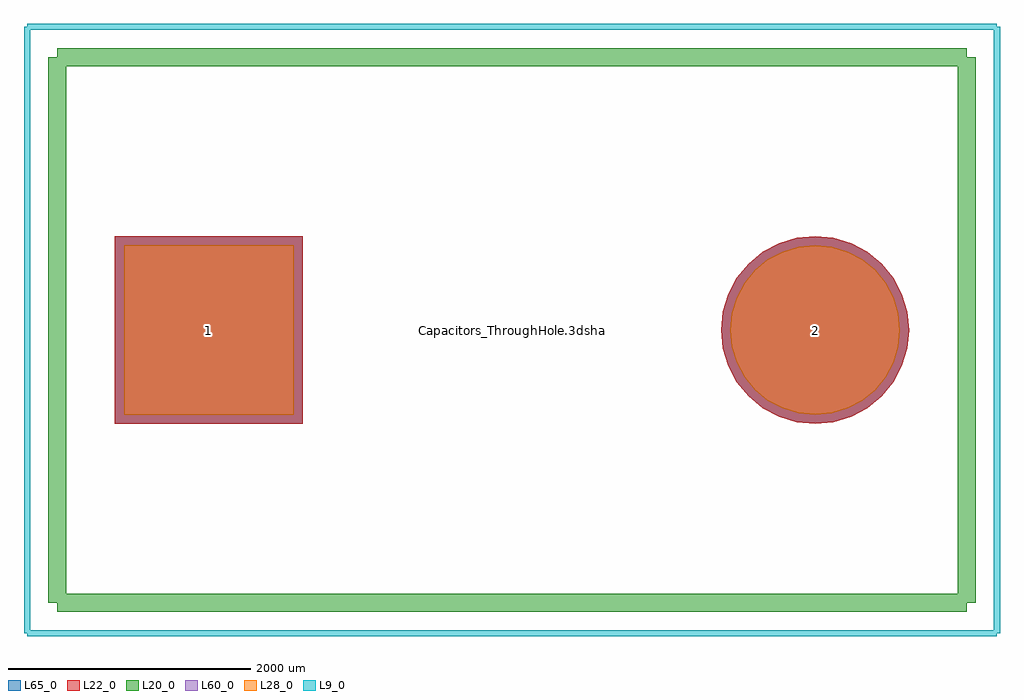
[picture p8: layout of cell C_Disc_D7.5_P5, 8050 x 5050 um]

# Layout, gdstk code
import gdstk
lib = gdstk.Library(unit=1e-6, precision=1e-09)
def R(c, l, rs):  # rectangles x0, y0, x1, y1
    for r in rs: c.add(gdstk.rectangle(r[:2], r[2:], *l))
def P(c, l, *ps):  # polygons
    for p in ps: c.add(gdstk.Polygon(p, *l))
L9_0 = (9, 0)
L20_0 = (20, 0)
L22_0 = (22, 0)
L28_0 = (28, 0)
L60_0 = (60, 0)
L65_0 = (65, 0)

c_disc_d7_5_p5 = lib.new_cell('C_Disc_D7.5_P5')
R(c_disc_d7_5_p5, L22_0, [(-775,-775,775,775)])
P(c_disc_d7_5_p5, L22_0, [(5775,0),(5760.109,151.195),(5716.007,296.58),(5644.389,430.567),(5548.008,548.008),(5430.567,644.389),(5296.58,716.007),(5151.195,760.109),(5000,775),(4848.805,760.109),(4703.42,716.007),(4569.433,644.389),(4451.992,548.008),(4355.611,430.567),(4283.993,296.58),(4239.891,151.195),(4225,0),(4239.891,-151.195),(4283.993,-296.58),(4355.611,-430.567),(4451.992,-548.008),(4569.433,-644.389),(4703.42,-716.007),(4848.805,-760.109),(5000,-775),(5151.195,-760.109),(5296.58,-716.007),(5430.567,-644.389),(5548.008,-548.008),(5644.389,-430.567),(5716.007,-296.58),(5760.109,-151.195)])
R(c_disc_d7_5_p5, L28_0, [(-700,-700,700,700)])
P(c_disc_d7_5_p5, L28_0, [(5700,0),(5686.55,136.563),(5646.716,267.878),(5582.029,388.899),(5494.975,494.975),(5388.899,582.029),(5267.878,646.716),(5136.563,686.55),(5000,700),(4863.437,686.55),(4732.122,646.716),(4611.101,582.029),(4505.025,494.975),(4417.971,388.899),(4353.284,267.878),(4313.45,136.563),(4300,0),(4313.45,-136.563),(4353.284,-267.878),(4417.971,-388.899),(4505.025,-494.975),(4611.101,-582.029),(4732.122,-646.716),(4863.437,-686.55),(5000,-700),(5136.563,-686.55),(5267.878,-646.716),(5388.899,-582.029),(5494.975,-494.975),(5582.029,-388.899),(5646.716,-267.878),(5686.55,-136.563)])
R(c_disc_d7_5_p5, L60_0, [(-700,-700,700,700)])
P(c_disc_d7_5_p5, L60_0, [(5700,0),(5686.55,136.563),(5646.716,267.878),(5582.029,388.899),(5494.975,494.975),(5388.899,582.029),(5267.878,646.716),(5136.563,686.55),(5000,700),(4863.437,686.55),(4732.122,646.716),(4611.101,582.029),(4505.025,494.975),(4417.971,388.899),(4353.284,267.878),(4313.45,136.563),(4300,0),(4313.45,-136.563),(4353.284,-267.878),(4417.971,-388.899),(4505.025,-494.975),(4611.101,-582.029),(4732.122,-646.716),(4863.437,-686.55),(5000,-700),(5136.563,-686.55),(5267.878,-646.716),(5388.899,-582.029),(5494.975,-494.975),(5582.029,-388.899),(5646.716,-267.878),(5686.55,-136.563)])
R(c_disc_d7_5_p5, L65_0, [(-775,-775,775,775)])
P(c_disc_d7_5_p5, L65_0, [(5775,0),(5760.109,151.195),(5716.007,296.58),(5644.389,430.567),(5548.008,548.008),(5430.567,644.389),(5296.58,716.007),(5151.195,760.109),(5000,775),(4848.805,760.109),(4703.42,716.007),(4569.433,644.389),(4451.992,548.008),(4355.611,430.567),(4283.993,296.58),(4239.891,151.195),(4225,0),(4239.891,-151.195),(4283.993,-296.58),(4355.611,-430.567),(4451.992,-548.008),(4569.433,-644.389),(4703.42,-716.007),(4848.805,-760.109),(5000,-775),(5151.195,-760.109),(5296.58,-716.007),(5430.567,-644.389),(5548.008,-548.008),(5644.389,-430.567),(5716.007,-296.58),(5760.109,-151.195)])
c_disc_d7_5_p5.add(gdstk.FlexPath([(-1250,-2250),(-1250,2250)], 149.998, ends="flush", simple_path=True, layer=20, datatype=0))  # L20_0
c_disc_d7_5_p5.add(gdstk.FlexPath([(6250,-2250),(-1250,-2250)], 149.998, ends="flush", simple_path=True, layer=20, datatype=0))  # L20_0
c_disc_d7_5_p5.add(gdstk.FlexPath([(6250,2250),(6250,-2250)], 149.998, ends="flush", simple_path=True, layer=20, datatype=0))  # L20_0
c_disc_d7_5_p5.add(gdstk.FlexPath([(-1250,2250),(6250,2250)], 149.998, ends="flush", simple_path=True, layer=20, datatype=0))  # L20_0
c_disc_d7_5_p5.add(gdstk.FlexPath([(-1500,-2500),(-1500,2500)], 50, ends="flush", simple_path=True, layer=9, datatype=0))  # L9_0
c_disc_d7_5_p5.add(gdstk.FlexPath([(6500,-2500),(-1500,-2500)], 50, ends="flush", simple_path=True, layer=9, datatype=0))  # L9_0
c_disc_d7_5_p5.add(gdstk.FlexPath([(6500,2500),(6500,-2500)], 50, ends="flush", simple_path=True, layer=9, datatype=0))  # L9_0
c_disc_d7_5_p5.add(gdstk.FlexPath([(-1500,2500),(6500,2500)], 50, ends="flush", simple_path=True, layer=9, datatype=0))  # L9_0
c_disc_d7_5_p5.add(gdstk.Label('Capacitors_ThroughHole.3dshapes/C_Disc_D7.5_P5.wrl', (2500,0), layer=12, texttype=0))
c_disc_d7_5_p5.add(gdstk.Label('2', (5000,0), layer=28, texttype=0))
c_disc_d7_5_p5.add(gdstk.Label('1', (0,0), layer=28, texttype=0))
c_disc_d7_5_p5.add(gdstk.Label('type', (2500,-3500), layer=9, texttype=0))
c_disc_d7_5_p5.add(gdstk.Label('devicename', (2500,3500), layer=9, texttype=0))

lib.write_gds('C_Disc_D7.5_P5.gds')
